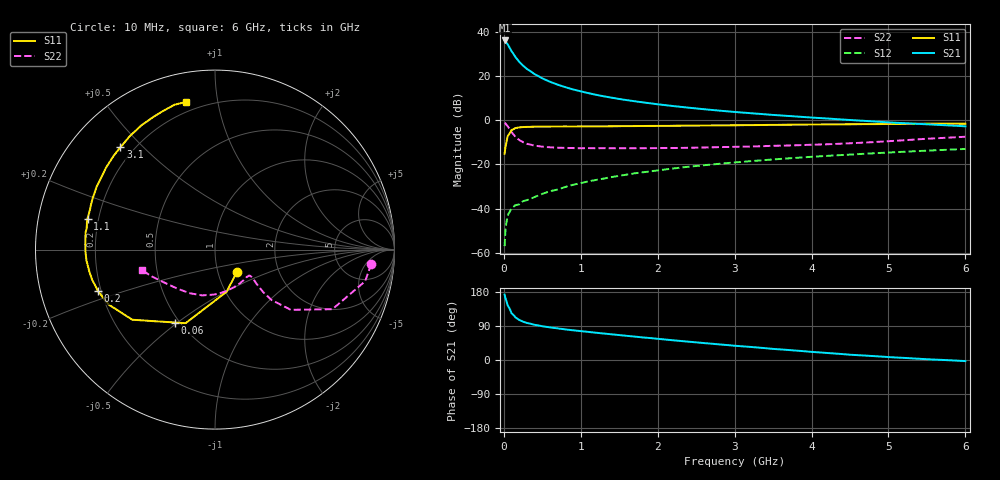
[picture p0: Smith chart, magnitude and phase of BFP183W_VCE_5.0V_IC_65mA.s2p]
! Infineon Technologies  Discrete & RF Semiconductors
! BFP183W
! VCE =  5.0 V,  IC =  65 mA
! Common Emitter S-Parameters:  Jan 2017
# GHz  S  MA  R  50
!  f  S11  S21  S12  S22
! GHz  MAG  ANG  MAG  ANG  MAG  ANG  MAG  ANG
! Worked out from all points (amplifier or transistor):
!   77 points, 10 MHz to 6 GHz, reference 50 ohm
!   highest |S21| = 36.2 dB at 10 MHz (marker M1)
!   |S21| within 3 dB of that: start of sweep to 70.37 MHz
!   unconditionally stable (mu >= 1): start of sweep to 11.95 MHz; 387.8 MHz to 3.818 GHz
!   at 130 MHz: K = 0.54, MSG = 34.5 dB, |S12| = -39.1 dB
!   at 2.2 GHz: K = 1.16, MAG = 11.8 dB, |S12| = -21.9 dB
!   at 6 GHz: K = 0.90, MSG = 5.1 dB, |S12| = -13.0 dB
!   S11 on the Smith chart (normalised r, x): 10 MHz: 1.24, -0.31; 60 MHz: 0.47, -0.49; 200 MHz: 0.19, -0.17; 1.1 GHz: 0.16, +0.12; 3.1 GHz: 0.15, +0.43; 6 GHz: 0.15, +0.81
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0.01  0.1739 -45.0  64.88 172.4  0.0014 90.4  0.8739 -5.3
0.02  0.2433 -74.5  63.25 163.9  0.003 77.3  0.8549 -11.9
0.05  0.4417 -111.8  53.06 143.9  0.0069 61.9  0.7336 -26.9
0.06  0.4636 -118.8  49.48 140.9  0.0075 58.9  0.6928 -28.7
0.1  0.6041 -139.7  37.16 123.4  0.01 50.6  0.5387 -38.5
0.15  0.6678 -152.8  27.39 112.6  0.0119 47.4  0.4235 -41.7
0.2  0.6919 -160.6  21.32 105.7  0.0124 49.6  0.3589 -41.4
0.25  0.7044 -166.1  17.4 101.1  0.0147 49.6  0.3197 -40.3
0.3  0.7103 -169.6  14.64 97.8  0.0155 51.9  0.2945 -39.2
0.4  0.7188 -175.2  11.16 92.8  0.0182 58.5  0.2665 -37.4
0.5  0.7219 -179.1  8.962 89.1  0.0215 59.9  0.253 -36.7
0.6  0.7233 177.8  7.504 86.1  0.0247 62.9  0.2447 -36.8
0.7  0.7245 175.2  6.442 83.4  0.027 65.1  0.2391 -37.1
0.9  0.7247 170.5  5.025 78.4  0.0346 67.9  0.2352 -39.7
1.1  0.731 166.3  4.139 74.1  0.0413 69.6  0.2344 -42.9
1.3  0.7314 162.2  3.509 69.8  0.0478 69.6  0.234 -46.7
1.5  0.7367 158.7  3.054 65.8  0.055 70.1  0.2327 -51.0
2.1  0.7499 148.0  2.212 54.0  0.077 68.5  0.2352 -66.1
3.1  0.7764 132.7  1.503 36.1  0.1146 63.1  0.2526 -94.8
4.1  0.8064 119.3  1.13 20.1  0.1526 56.2  0.2831 -122.6
5.1  0.8285 108.9  0.881 6.6  0.19 48.8  0.3449 -149.1
6  0.8387 101.2  0.733 -2.9  0.2246 41.6  0.4247 -164.6
